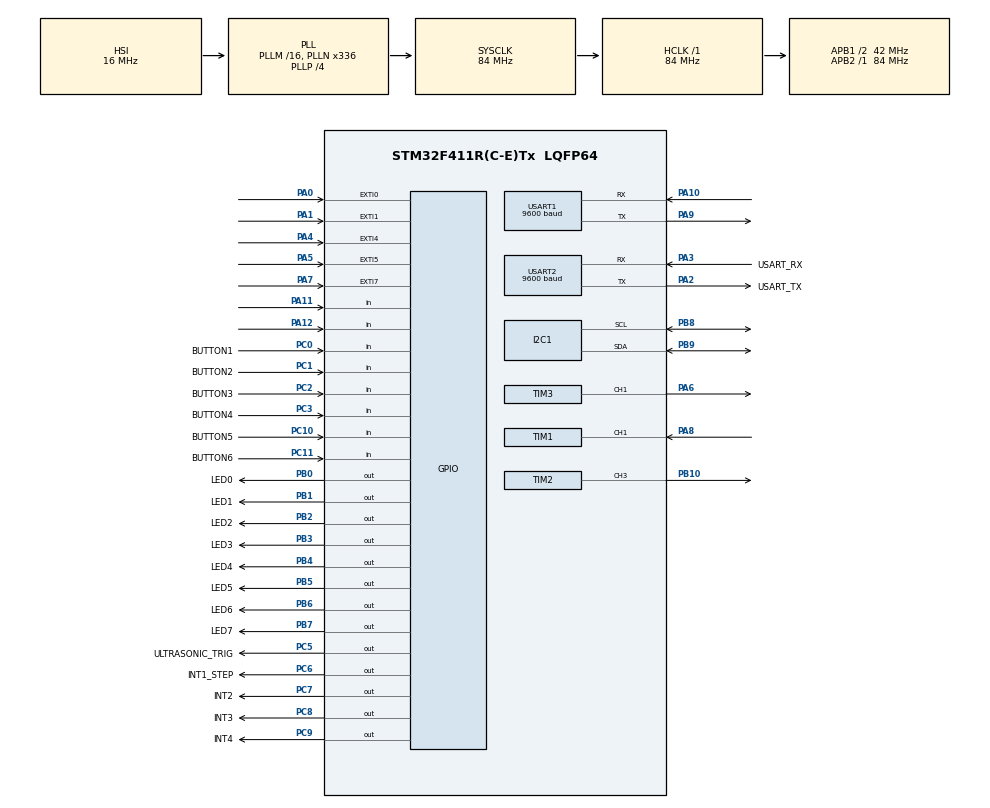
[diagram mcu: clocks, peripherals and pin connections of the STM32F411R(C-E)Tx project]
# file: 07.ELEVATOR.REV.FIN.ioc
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Mcu.Family=STM32F4
Mcu.Name=STM32F411R(C-E)Tx
Mcu.Package=LQFP64
NVIC.EXTI0_IRQn=true\:0\:0\:false\:false\:true\:true\:true\:true
NVIC.EXTI1_IRQn=true\:0\:0\:false\:false\:true\:true\:true\:true
NVIC.EXTI4_IRQn=true\:0\:0\:false\:false\:true\:true\:true\:true
NVIC.EXTI9_5_IRQn=true\:0\:0\:false\:false\:true\:true\:true\:true
NVIC.PriorityGroup=NVIC_PRIORITYGROUP_0
NVIC.TIM1_BRK_TIM9_IRQn=true\:0\:0\:false\:false\:true\:true\:true\:true
NVIC.TIM1_CC_IRQn=true\:0\:0\:false\:false\:true\:true\:true\:true
NVIC.TIM1_TRG_COM_TIM11_IRQn=true\:0\:0\:false\:true\:true\:1\:true\:true\:true
NVIC.TIM1_UP_TIM10_IRQn=true\:0\:0\:false\:false\:true\:true\:true\:true
NVIC.TIM2_IRQn=true\:0\:0\:false\:false\:true\:true\:true\:true
NVIC.TIM3_IRQn=true\:0\:0\:false\:false\:true\:true\:true\:true
NVIC.USART1_IRQn=true\:0\:0\:false\:false\:true\:true\:true\:true
NVIC.USART2_IRQn=true\:0\:0\:false\:false\:true\:true\:true\:true
PA0-WKUP.Signal=GPXTI0
PA1.Signal=GPXTI1
PA10.Mode=Asynchronous
PA10.Signal=USART1_RX
PA11.Signal=GPIO_Input
PA12.Signal=GPIO_Input
PA13.GPIO_Label=TMS
PA13.Mode=Serial_Wire
PA13.Signal=SYS_JTMS-SWDIO
PA14.GPIO_Label=TCK
PA14.Mode=Serial_Wire
PA14.Signal=SYS_JTCK-SWCLK
PA2.GPIO_Label=USART_TX
PA2.Mode=Asynchronous
PA2.Signal=USART2_TX
PA3.GPIO_Label=USART_RX
PA3.Mode=Asynchronous
PA3.Signal=USART2_RX
PA4.Signal=GPXTI4
PA5.Signal=GPXTI5
PA6.Signal=S_TIM3_CH1
PA7.Signal=GPXTI7
PA8.Signal=S_TIM1_CH1
PA9.Mode=Asynchronous
PA9.Signal=USART1_TX
PB0.GPIO_Label=LED0
PB0.Signal=GPIO_Output
PB1.GPIO_Label=LED1
PB1.Signal=GPIO_Output
PB10.Signal=S_TIM2_CH3
PB2.GPIO_Label=LED2
PB2.Signal=GPIO_Output
PB3.GPIO_Label=LED3
PB3.Signal=GPIO_Output
PB4.GPIO_Label=LED4
PB4.Signal=GPIO_Output
PB5.GPIO_Label=LED5
PB5.Signal=GPIO_Output
PB6.GPIO_Label=LED6
PB6.Signal=GPIO_Output
PB7.GPIO_Label=LED7
PB7.Signal=GPIO_Output
PB8.Mode=I2C
PB8.Signal=I2C1_SCL
PB9.Mode=I2C
PB9.Signal=I2C1_SDA
PC0.GPIO_Label=BUTTON1
PC0.Signal=GPIO_Input
PC1.GPIO_Label=BUTTON2
PC1.Signal=GPIO_Input
PC10.GPIO_Label=BUTTON5
PC10.Signal=GPIO_Input
PC11.GPIO_Label=BUTTON6
PC11.Signal=GPIO_Input
PC14-OSC32_IN.Mode=LSE-External-Oscillator
PC14-OSC32_IN.Signal=RCC_OSC32_IN
PC15-OSC32_OUT.Mode=LSE-External-Oscillator
PC15-OSC32_OUT.Signal=RCC_OSC32_OUT
PC2.GPIO_Label=BUTTON3
PC2.Signal=GPIO_Input
PC3.GPIO_Label=BUTTON4
PC3.Signal=GPIO_Input
PC5.GPIO_Label=ULTRASONIC_TRIG
PC5.Signal=GPIO_Output
PC6.GPIO_Label=INT1_STEP
PC6.Signal=GPIO_Output
PC7.GPIO_Label=INT2
PC7.Signal=GPIO_Output
PC8.GPIO_Label=INT3
PC8.Signal=GPIO_Output
PC9.GPIO_Label=INT4
PC9.Signal=GPIO_Output
PH0\ -\ OSC_IN.Mode=HSE-External-Clock-Source
PH0\ -\ OSC_IN.Signal=RCC_OSC_IN
PH1\ -\ OSC_OUT.Mode=HSE-External-Clock-Source
PH1\ -\ OSC_OUT.Signal=RCC_OSC_OUT
ProjectManager.HeapSize=0x200
ProjectManager.StackSize=0x400
ProjectManager.TargetToolchain=STM32CubeIDE
RCC.48MHZClocksFreq_Value=84000000
RCC.AHBFreq_Value=84000000
RCC.APB1CLKDivider=RCC_HCLK_DIV2
RCC.APB1Freq_Value=42000000
RCC.APB1TimFreq_Value=84000000
RCC.APB2Freq_Value=84000000
RCC.APB2TimFreq_Value=84000000
RCC.CortexFreq_Value=84000000
RCC.FLatency-AdvancedSettings=FLASH_LATENCY_2
RCC.HCLKFreq_Value=84000000
RCC.HSE_VALUE=8000000
RCC.HSI_VALUE=16000000
RCC.PLLN=336
RCC.PLLP=RCC_PLLP_DIV4
RCC.SYSCLKFreq_VALUE=84000000
RCC.SYSCLKSource=RCC_SYSCLKSOURCE_PLLCLK
RCC.VCOOutputFreq_Value=336000000
RTC.Date=30
RTC.Hours=11
RTC.Minutes=10
RTC.Month=RTC_MONTH_AUGUST
RTC.WeekDay=RTC_WEEKDAY_TUESDAY
RTC.Year=22
SH.S_TIM1_CH1.0=TIM1_CH1,Input_Capture1_from_TI1
SH.S_TIM2_CH3.0=TIM2_CH3,PWM Generation3 CH3
SH.S_TIM3_CH1.0=TIM3_CH1,PWM Generation1 CH1
TIM1.Channel-Input_Capture1_from_TI1=TIM_CHANNEL_1
TIM1.ICPolarity_CH1=TIM_INPUTCHANNELPOLARITY_BOTHEDGE
TIM1.Prescaler=84-1
TIM11.Period=10000-1
TIM11.Prescaler=84-1
TIM2.Channel-PWM\ Generation3\ CH3=TIM_CHANNEL_3
TIM2.Period=1000-1
TIM2.Prescaler=1680-1
TIM3.Channel-PWM\ Generation1\ CH1=TIM_CHANNEL_1
TIM3.Period=400-1
TIM3.Prescaler=52.5-1
TIM3.Pulse-PWM\ Generation1\ CH1=200-1
USART1.BaudRate=9600
USART1.VirtualMode=VM_ASYNC
USART2.BaudRate=9600
USART2.VirtualMode=VM_ASYNC
VP_RTC_VS_RTC_Activate.Mode=RTC_Enabled
VP_RTC_VS_RTC_Calendar.Mode=RTC_Calendar
VP_TIM11_VS_ClockSourceINT.Mode=Enable_Timer
VP_TIM1_VS_ClockSourceINT.Mode=Internal
VP_TIM2_VS_ClockSourceINT.Mode=Internal
board=NUCLEO-F411RE

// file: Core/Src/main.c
/* USER CODE BEGIN Header */
/**
  ******************************************************************************
  * @file           : main.c
  * @brief          : Main program body
  ******************************************************************************
  * @attention
  *
  * Copyright (c) 2022 STMicroelectronics.
  * All rights reserved.
  *
  * This software is licensed under terms that can be found in the LICENSE file
  * in the root directory of this software component.
  * If no LICENSE file comes with this software, it is provided AS-IS.
  *
  ******************************************************************************
  */
/* USER CODE END Header */
#include "main.h"

I2C_HandleTypeDef hi2c1;

RTC_HandleTypeDef hrtc;

TIM_HandleTypeDef htim1;
TIM_HandleTypeDef htim2;
TIM_HandleTypeDef htim3;
TIM_HandleTypeDef htim11;

UART_HandleTypeDef huart1;
UART_HandleTypeDef huart2;

void SystemClock_Config(void);
static void MX_GPIO_Init(void);
static void MX_USART2_UART_Init(void);
static void MX_TIM11_Init(void);
static void MX_TIM1_Init(void);
static void MX_RTC_Init(void);
static void MX_I2C1_Init(void);
static void MX_TIM2_Init(void);
static void MX_TIM3_Init(void);
static void MX_USART1_UART_Init(void);
static void MX_NVIC_Init(void);
/* USER CODE BEGIN PFP */
extern void led_all_on();
extern void led_all_off();
extern void led_on_up();
extern void led_on_down();
extern void led2_toggle();
extern void button1_ledall_on_off();
extern void HAL_SYSTICK_Callback();
extern volatile uint8_t rx_data;
extern void pc_command_processing();
extern void ultrasonic_processing();
extern void get_rtc_time(void);
extern void stepmotor_cw_ccw_control();
extern void stepmotor_forward_backward_stop();
extern void exint_motor_control();
extern void auto_door_sequence();
extern void buzzer_main();
extern void floor_state_led_control();
extern flow_button_move();

/* USER CODE END PFP */

/* USER CODE BEGIN 0 */
//----------  printf start ----------
#ifdef __GNUC__
/* With GCC, small printf (option LD Linker->Libraries->Small printf
   set to 'Yes') calls __io_putchar() */
#define PUTCHAR_PROTOTYPE int __io_putchar(int ch)
#else
#define PUTCHAR_PROTOTYPE int fputc(int ch, FILE *f)
#endif /* __GNUC_ */
/**
  * @brief  Retargets the C library printf function to the USART.
  * @param  None
  * @retval None
  */
PUTCHAR_PROTOTYPE   // Add for printf
{
  /* Place your implementation of fputc here */
  /* e.g. write a character to the USART3 and Loop until the end of transmission */
  HAL_UART_Transmit(&huart2, (uint8_t *)&ch, 1, 0xFFFF);

  return ch;
}
//----------  printf end ----------
volatile int t1ms_count = 0;
volatile int t2ms_count = 0;
volatile int led_timer = 0;
// call by SysTick_Handler of stm32f4xx_it.c
// enter here every 1ms
// ARM default function
void HAL_SYSTICK_Callback()
{
	t1ms_count++;
	t2ms_count ++;
	led_timer++;
}
// copy from Driver/STM32F4xx_HAL_Driver/stm32f4xx_hal_tim.c to here
// every TIMER INT callBack function : enter here every 10ms
volatile int TIM11_10ms_counter=0;
volatile int TIM11_10ms_ultrasonic_counter = 0;
volatile int TIM11_10ms_servomotor_counter = 0;
volatile int TIM11_10ms_buzzer_counter = 0;

void HAL_TIM_PeriodElapsedCallback(TIM_HandleTypeDef *htim)
{
	if(htim->Instance == TIM11)
	{
		TIM11_10ms_counter++;
		TIM11_10ms_ultrasonic_counter++;
		TIM11_10ms_servomotor_counter++;
		TIM11_10ms_buzzer_counter++;
	}
}

// copy from Driver/STM32F4xx_HAL_Driver/stm32f4xx_hal_gpio.c to here
// every GPIO_EXTI_Callback function : enter here every 10ms

volatile int exint_signal = 0;

void HAL_GPIO_EXTI_Callback(uint16_t GPIO_Pin)
{
  switch(GPIO_Pin)
  {
  	  case GPIO_PIN_0 :	// PA.0
 printf("EXT INT 0\n");
  		HAL_GPIO_WritePin(GPIOB, ~GPIO_PIN_0, GPIO_PIN_RESET);
  		HAL_GPIO_WritePin(GPIOB, GPIO_PIN_0, GPIO_PIN_SET);

  		exint_signal = 1;

  	  break;

  	  case GPIO_PIN_1 : // PA.1
 printf("EXT INT 1\n");
  		HAL_GPIO_WritePin(GPIOB, ~GPIO_PIN_1, GPIO_PIN_RESET);
  		HAL_GPIO_WritePin(GPIOB, GPIO_PIN_1, GPIO_PIN_SET);

  		exint_signal = 2;
  	  break;

  	  case GPIO_PIN_4 : // PA.2
printf("EXT INT 2\n");
  		HAL_GPIO_WritePin(GPIOB, ~GPIO_PIN_4, GPIO_PIN_RESET);
  		HAL_GPIO_WritePin(GPIOB, GPIO_PIN_4, GPIO_PIN_SET);

  		exint_signal = 3;
  	  break;

  	  case GPIO_PIN_5 : // PA.3
 printf("EXT INT 3\n");
  		HAL_GPIO_WritePin(GPIOB, ~GPIO_PIN_5, GPIO_PIN_RESET);
  		HAL_GPIO_WritePin(GPIOB, GPIO_PIN_5, GPIO_PIN_SET);

  		exint_signal = 4;
  	  break;

  	  case GPIO_PIN_7 : // PA.3
 printf("EXT INT 4\n");
  		HAL_GPIO_WritePin(GPIOB, ~GPIO_PIN_5, GPIO_PIN_RESET);
  		HAL_GPIO_WritePin(GPIOB, GPIO_PIN_5, GPIO_PIN_SET);

  		exint_signal = 5;
  	  break;

  }
}

// count us timer pulse
// 0.000001sec ==> 1us
// 0.001sec ==> 1ms ==> 1000us
// 0.1sec ==> 100ms ==> 100000us
void delay_us(unsigned long us)
{
	//TCNT=0; ex) AVR
	__HAL_TIM_SET_COUNTER(&htim1, 0); // clear timer counter
	while(__HAL_TIM_GET_COUNTER(&htim1) < us) // wait counter value until reach
	;
}
/* USER CODE END 0 */

int main(void)
{

  /* MCU Configuration--------------------------------------------------------*/

  /* Reset of all peripherals, Initializes the Flash interface and the Systick. */
  HAL_Init();

  /* Configure the system clock */
  SystemClock_Config();

  /* Initialize all configured peripherals */
  MX_GPIO_Init();
  MX_USART2_UART_Init();
  MX_TIM11_Init();
  MX_TIM1_Init();
  MX_RTC_Init();
  MX_I2C1_Init();
  MX_TIM2_Init();
  MX_TIM3_Init();
  MX_USART1_UART_Init();

  /* Initialize interrupts */
  MX_NVIC_Init();
  /* USER CODE BEGIN 2 */
  HAL_TIM_Base_Start_IT(&htim11); // add_SHHAN_0826 for TIM11 every 10ms
  HAL_TIM_IC_Start_IT(&htim1, TIM_CHANNEL_1); // add_SHHAN_0826 for us_delay, ultrasonic
  HAL_UART_Receive_IT(&huart2, &rx_data, 1);	// PC UART Enable rx_interrupt
  HAL_UART_Receive_IT(&huart1, &rx_data, 1);	// BT UART Enable rx_interrupt
  // PC, BT
  HAL_TIM_PWM_Start_IT(&htim2,TIM_CHANNEL_3);	// PWM Control for Servo motor
  // TIM3 CH1 : PIEZO BUZZER
// HAL_TIM_PWM_Start(&htim3, TIM_CHANNEL_1);

  i2c_lcd_init();
  printf("Hello STM32!!!\n");
  //stepmotor_main_test();

  /* USER CODE END 2 */

  /* Infinite loop */
  while (1)
  {

    /* USER CODE BEGIN 3 */
	  pc_command_processing();
	 // ultrasonic_processing();
	  get_rtc_time();
	  flow_button_move();
	  floor_state_led_control();
	  // exint_motor_control();
//servo_motor_control_main();

  }
  /* USER CODE END 3 */
}

void SystemClock_Config(void)
{
  RCC_OscInitTypeDef RCC_OscInitStruct = {0};
  RCC_ClkInitTypeDef RCC_ClkInitStruct = {0};

  /** Configure the main internal regulator output voltage
  */
  __HAL_RCC_PWR_CLK_ENABLE();
  __HAL_PWR_VOLTAGESCALING_CONFIG(PWR_REGULATOR_VOLTAGE_SCALE1);

  /** Initializes the RCC Oscillators according to the specified parameters
  * in the RCC_OscInitTypeDef structure.
  */
  RCC_OscInitStruct.OscillatorType = RCC_OSCILLATORTYPE_HSI|RCC_OSCILLATORTYPE_LSI;
  RCC_OscInitStruct.HSIState = RCC_HSI_ON;
  RCC_OscInitStruct.HSICalibrationValue = RCC_HSICALIBRATION_DEFAULT;
  RCC_OscInitStruct.LSIState = RCC_LSI_ON;
  RCC_OscInitStruct.PLL.PLLState = RCC_PLL_ON;
  RCC_OscInitStruct.PLL.PLLSource = RCC_PLLSOURCE_HSI;
  RCC_OscInitStruct.PLL.PLLM = 16;
  RCC_OscInitStruct.PLL.PLLN = 336;
  RCC_OscInitStruct.PLL.PLLP = RCC_PLLP_DIV4;
  RCC_OscInitStruct.PLL.PLLQ = 4;
  if (HAL_RCC_OscConfig(&RCC_OscInitStruct) != HAL_OK)
  {
    Error_Handler();
  }

  /** Initializes the CPU, AHB and APB buses clocks
  */
  RCC_ClkInitStruct.ClockType = RCC_CLOCKTYPE_HCLK|RCC_CLOCKTYPE_SYSCLK
                              |RCC_CLOCKTYPE_PCLK1|RCC_CLOCKTYPE_PCLK2;
  RCC_ClkInitStruct.SYSCLKSource = RCC_SYSCLKSOURCE_PLLCLK;
  RCC_ClkInitStruct.AHBCLKDivider = RCC_SYSCLK_DIV1;
  RCC_ClkInitStruct.APB1CLKDivider = RCC_HCLK_DIV2;
  RCC_ClkInitStruct.APB2CLKDivider = RCC_HCLK_DIV1;

  if (HAL_RCC_ClockConfig(&RCC_ClkInitStruct, FLASH_LATENCY_2) != HAL_OK)
  {
    Error_Handler();
  }
}

/**
  * @brief NVIC Configuration.
  * @retval None
  */
static void MX_NVIC_Init(void)
{
  /* TIM1_TRG_COM_TIM11_IRQn interrupt configuration */
  HAL_NVIC_SetPriority(TIM1_TRG_COM_TIM11_IRQn, 0, 0);
  HAL_NVIC_EnableIRQ(TIM1_TRG_COM_TIM11_IRQn);
}

static void MX_I2C1_Init(void)
{

  hi2c1.Instance = I2C1;
  hi2c1.Init.ClockSpeed = 100000;
  hi2c1.Init.DutyCycle = I2C_DUTYCYCLE_2;
  hi2c1.Init.OwnAddress1 = 0;
  hi2c1.Init.AddressingMode = I2C_ADDRESSINGMODE_7BIT;
  hi2c1.Init.DualAddressMode = I2C_DUALADDRESS_DISABLE;
  hi2c1.Init.OwnAddress2 = 0;
  hi2c1.Init.GeneralCallMode = I2C_GENERALCALL_DISABLE;
  hi2c1.Init.NoStretchMode = I2C_NOSTRETCH_DISABLE;
  if (HAL_I2C_Init(&hi2c1) != HAL_OK)
  {
    Error_Handler();
  }

}

static void MX_RTC_Init(void)
{

  RTC_TimeTypeDef sTime = {0};
  RTC_DateTypeDef sDate = {0};

  /** Initialize RTC Only
  */
  hrtc.Instance = RTC;
  hrtc.Init.HourFormat = RTC_HOURFORMAT_24;
  hrtc.Init.AsynchPrediv = 127;
  hrtc.Init.SynchPrediv = 255;
  hrtc.Init.OutPut = RTC_OUTPUT_DISABLE;
  hrtc.Init.OutPutPolarity = RTC_OUTPUT_POLARITY_HIGH;
  hrtc.Init.OutPutType = RTC_OUTPUT_TYPE_OPENDRAIN;
  if (HAL_RTC_Init(&hrtc) != HAL_OK)
  {
    Error_Handler();
  }

  /** Initialize RTC and set the Time and Date
  */
  sTime.Hours = 0x11;
  sTime.Minutes = 0x10;
  sTime.Seconds = 0x0;
  sTime.DayLightSaving = RTC_DAYLIGHTSAVING_NONE;
  sTime.StoreOperation = RTC_STOREOPERATION_RESET;
  if (HAL_RTC_SetTime(&hrtc, &sTime, RTC_FORMAT_BCD) != HAL_OK)
  {
    Error_Handler();
  }
  sDate.WeekDay = RTC_WEEKDAY_TUESDAY;
  sDate.Month = RTC_MONTH_AUGUST;
  sDate.Date = 0x30;
  sDate.Year = 0x22;

  if (HAL_RTC_SetDate(&hrtc, &sDate, RTC_FORMAT_BCD) != HAL_OK)
  {
    Error_Handler();
  }

}

static void MX_TIM1_Init(void)
{

  TIM_ClockConfigTypeDef sClockSourceConfig = {0};
  TIM_MasterConfigTypeDef sMasterConfig = {0};
  TIM_IC_InitTypeDef sConfigIC = {0};

  htim1.Instance = TIM1;
  htim1.Init.Prescaler = 84-1;
  htim1.Init.CounterMode = TIM_COUNTERMODE_UP;
  htim1.Init.Period = 65535;
  htim1.Init.ClockDivision = TIM_CLOCKDIVISION_DIV1;
  htim1.Init.RepetitionCounter = 0;
  htim1.Init.AutoReloadPreload = TIM_AUTORELOAD_PRELOAD_DISABLE;
  if (HAL_TIM_Base_Init(&htim1) != HAL_OK)
  {
    Error_Handler();
  }
  sClockSourceConfig.ClockSource = TIM_CLOCKSOURCE_INTERNAL;
  if (HAL_TIM_ConfigClockSource(&htim1, &sClockSourceConfig) != HAL_OK)
  {
    Error_Handler();
  }
  if (HAL_TIM_IC_Init(&htim1) != HAL_OK)
  {
    Error_Handler();
  }
  sMasterConfig.MasterOutputTrigger = TIM_TRGO_RESET;
  sMasterConfig.MasterSlaveMode = TIM_MASTERSLAVEMODE_DISABLE;
  if (HAL_TIMEx_MasterConfigSynchronization(&htim1, &sMasterConfig) != HAL_OK)
  {
    Error_Handler();
  }
  sConfigIC.ICPolarity = TIM_INPUTCHANNELPOLARITY_BOTHEDGE;
  sConfigIC.ICSelection = TIM_ICSELECTION_DIRECTTI;
  sConfigIC.ICPrescaler = TIM_ICPSC_DIV1;
  sConfigIC.ICFilter = 0;
  if (HAL_TIM_IC_ConfigChannel(&htim1, &sConfigIC, TIM_CHANNEL_1) != HAL_OK)
  {
    Error_Handler();
  }

}

static void MX_TIM2_Init(void)
{

  TIM_ClockConfigTypeDef sClockSourceConfig = {0};
  TIM_MasterConfigTypeDef sMasterConfig = {0};
  TIM_OC_InitTypeDef sConfigOC = {0};

  htim2.Instance = TIM2;
  htim2.Init.Prescaler = 1680-1;
  htim2.Init.CounterMode = TIM_COUNTERMODE_UP;
  htim2.Init.Period = 1000-1;
  htim2.Init.ClockDivision = TIM_CLOCKDIVISION_DIV1;
  htim2.Init.AutoReloadPreload = TIM_AUTORELOAD_PRELOAD_DISABLE;
  if (HAL_TIM_Base_Init(&htim2) != HAL_OK)
  {
    Error_Handler();
  }
  sClockSourceConfig.ClockSource = TIM_CLOCKSOURCE_INTERNAL;
  if (HAL_TIM_ConfigClockSource(&htim2, &sClockSourceConfig) != HAL_OK)
  {
    Error_Handler();
  }
  if (HAL_TIM_PWM_Init(&htim2) != HAL_OK)
  {
    Error_Handler();
  }
  sMasterConfig.MasterOutputTrigger = TIM_TRGO_RESET;
  sMasterConfig.MasterSlaveMode = TIM_MASTERSLAVEMODE_DISABLE;
  if (HAL_TIMEx_MasterConfigSynchronization(&htim2, &sMasterConfig) != HAL_OK)
  {
    Error_Handler();
  }
  sConfigOC.OCMode = TIM_OCMODE_PWM1;
  sConfigOC.Pulse = 0;
  sConfigOC.OCPolarity = TIM_OCPOLARITY_HIGH;
  sConfigOC.OCFastMode = TIM_OCFAST_DISABLE;
  if (HAL_TIM_PWM_ConfigChannel(&htim2, &sConfigOC, TIM_CHANNEL_3) != HAL_OK)
  {
    Error_Handler();
  }
  HAL_TIM_MspPostInit(&htim2);

}

static void MX_TIM3_Init(void)
{

  TIM_MasterConfigTypeDef sMasterConfig = {0};
  TIM_OC_InitTypeDef sConfigOC = {0};

  htim3.Instance = TIM3;
  htim3.Init.Prescaler = 52.5-1;
  htim3.Init.CounterMode = TIM_COUNTERMODE_UP;
  htim3.Init.Period = 400-1;
  htim3.Init.ClockDivision = TIM_CLOCKDIVISION_DIV1;
  htim3.Init.AutoReloadPreload = TIM_AUTORELOAD_PRELOAD_DISABLE;
  if (HAL_TIM_PWM_Init(&htim3) != HAL_OK)
  {
    Error_Handler();
  }
  sMasterConfig.MasterOutputTrigger = TIM_TRGO_RESET;
  sMasterConfig.MasterSlaveMode = TIM_MASTERSLAVEMODE_DISABLE;
  if (HAL_TIMEx_MasterConfigSynchronization(&htim3, &sMasterConfig) != HAL_OK)
  {
    Error_Handler();
  }
  sConfigOC.OCMode = TIM_OCMODE_PWM1;
  sConfigOC.Pulse = 200-1;
  sConfigOC.OCPolarity = TIM_OCPOLARITY_HIGH;
  sConfigOC.OCFastMode = TIM_OCFAST_DISABLE;
  if (HAL_TIM_PWM_ConfigChannel(&htim3, &sConfigOC, TIM_CHANNEL_1) != HAL_OK)
  {
    Error_Handler();
  }
  HAL_TIM_MspPostInit(&htim3);

}

static void MX_TIM11_Init(void)
{

  htim11.Instance = TIM11;
  htim11.Init.Prescaler = 84-1;
  htim11.Init.CounterMode = TIM_COUNTERMODE_UP;
  htim11.Init.Period = 10000-1;
  htim11.Init.ClockDivision = TIM_CLOCKDIVISION_DIV1;
  htim11.Init.AutoReloadPreload = TIM_AUTORELOAD_PRELOAD_DISABLE;
  if (HAL_TIM_Base_Init(&htim11) != HAL_OK)
  {
    Error_Handler();
  }

}

static void MX_USART1_UART_Init(void)
{

  huart1.Instance = USART1;
  huart1.Init.BaudRate = 9600;
  huart1.Init.WordLength = UART_WORDLENGTH_8B;
  huart1.Init.StopBits = UART_STOPBITS_1;
  huart1.Init.Parity = UART_PARITY_NONE;
  huart1.Init.Mode = UART_MODE_TX_RX;
  huart1.Init.HwFlowCtl = UART_HWCONTROL_NONE;
  huart1.Init.OverSampling = UART_OVERSAMPLING_16;
  if (HAL_UART_Init(&huart1) != HAL_OK)
  {
    Error_Handler();
  }

}

static void MX_USART2_UART_Init(void)
{

  huart2.Instance = USART2;
  huart2.Init.BaudRate = 9600;
  huart2.Init.WordLength = UART_WORDLENGTH_8B;
  huart2.Init.StopBits = UART_STOPBITS_1;
  huart2.Init.Parity = UART_PARITY_NONE;
  huart2.Init.Mode = UART_MODE_TX_RX;
  huart2.Init.HwFlowCtl = UART_HWCONTROL_NONE;
  huart2.Init.OverSampling = UART_OVERSAMPLING_16;
  if (HAL_UART_Init(&huart2) != HAL_OK)
  {
    Error_Handler();
  }

}

static void MX_GPIO_Init(void)
{
  GPIO_InitTypeDef GPIO_InitStruct = {0};

  /* GPIO Ports Clock Enable */
  __HAL_RCC_GPIOC_CLK_ENABLE();
  __HAL_RCC_GPIOH_CLK_ENABLE();
  __HAL_RCC_GPIOA_CLK_ENABLE();
  __HAL_RCC_GPIOB_CLK_ENABLE();

  /*Configure GPIO pin Output Level */
  HAL_GPIO_WritePin(GPIOC, ULTRASONIC_TRIG_Pin|INT1_STEP_Pin|INT2_Pin|INT3_Pin
                          |INT4_Pin, GPIO_PIN_RESET);

  /*Configure GPIO pin Output Level */
  HAL_GPIO_WritePin(GPIOB, LED0_Pin|LED1_Pin|LED2_Pin|LED3_Pin
                          |LED4_Pin|LED5_Pin|LED6_Pin|LED7_Pin, GPIO_PIN_RESET);

  /*Configure GPIO pins : BUTTON1_Pin BUTTON2_Pin BUTTON3_Pin BUTTON4_Pin
                           BUTTON5_Pin BUTTON6_Pin */
  GPIO_InitStruct.Pin = BUTTON1_Pin|BUTTON2_Pin|BUTTON3_Pin|BUTTON4_Pin
                          |BUTTON5_Pin|BUTTON6_Pin;
  GPIO_InitStruct.Mode = GPIO_MODE_INPUT;
  GPIO_InitStruct.Pull = GPIO_NOPULL;
  HAL_GPIO_Init(GPIOC, &GPIO_InitStruct);

  /*Configure GPIO pins : PA0 PA1 PA4 PA5
                           PA7 */
  GPIO_InitStruct.Pin = GPIO_PIN_0|GPIO_PIN_1|GPIO_PIN_4|GPIO_PIN_5
                          |GPIO_PIN_7;
  GPIO_InitStruct.Mode = GPIO_MODE_IT_RISING;
  GPIO_InitStruct.Pull = GPIO_NOPULL;
  HAL_GPIO_Init(GPIOA, &GPIO_InitStruct);

  /*Configure GPIO pins : ULTRASONIC_TRIG_Pin INT1_STEP_Pin INT2_Pin INT3_Pin
                           INT4_Pin */
  GPIO_InitStruct.Pin = ULTRASONIC_TRIG_Pin|INT1_STEP_Pin|INT2_Pin|INT3_Pin
                          |INT4_Pin;
  GPIO_InitStruct.Mode = GPIO_MODE_OUTPUT_PP;
  GPIO_InitStruct.Pull = GPIO_NOPULL;
  GPIO_InitStruct.Speed = GPIO_SPEED_FREQ_LOW;
  HAL_GPIO_Init(GPIOC, &GPIO_InitStruct);

  /*Configure GPIO pins : LED0_Pin LED1_Pin LED2_Pin LED3_Pin
                           LED4_Pin LED5_Pin LED6_Pin LED7_Pin */
  GPIO_InitStruct.Pin = LED0_Pin|LED1_Pin|LED2_Pin|LED3_Pin
                          |LED4_Pin|LED5_Pin|LED6_Pin|LED7_Pin;
  GPIO_InitStruct.Mode = GPIO_MODE_OUTPUT_PP;
  GPIO_InitStruct.Pull = GPIO_NOPULL;
  GPIO_InitStruct.Speed = GPIO_SPEED_FREQ_LOW;
  HAL_GPIO_Init(GPIOB, &GPIO_InitStruct);

  /*Configure GPIO pins : PA11 PA12 */
  GPIO_InitStruct.Pin = GPIO_PIN_11|GPIO_PIN_12;
  GPIO_InitStruct.Mode = GPIO_MODE_INPUT;
  GPIO_InitStruct.Pull = GPIO_NOPULL;
  HAL_GPIO_Init(GPIOA, &GPIO_InitStruct);

  /* EXTI interrupt init*/
  HAL_NVIC_SetPriority(EXTI0_IRQn, 0, 0);
  HAL_NVIC_EnableIRQ(EXTI0_IRQn);

  HAL_NVIC_SetPriority(EXTI1_IRQn, 0, 0);
  HAL_NVIC_EnableIRQ(EXTI1_IRQn);

  HAL_NVIC_SetPriority(EXTI4_IRQn, 0, 0);
  HAL_NVIC_EnableIRQ(EXTI4_IRQn);

  HAL_NVIC_SetPriority(EXTI9_5_IRQn, 0, 0);
  HAL_NVIC_EnableIRQ(EXTI9_5_IRQn);

}

void Error_Handler(void)
{
  __disable_irq();
  while (1)
  {
  }
}
